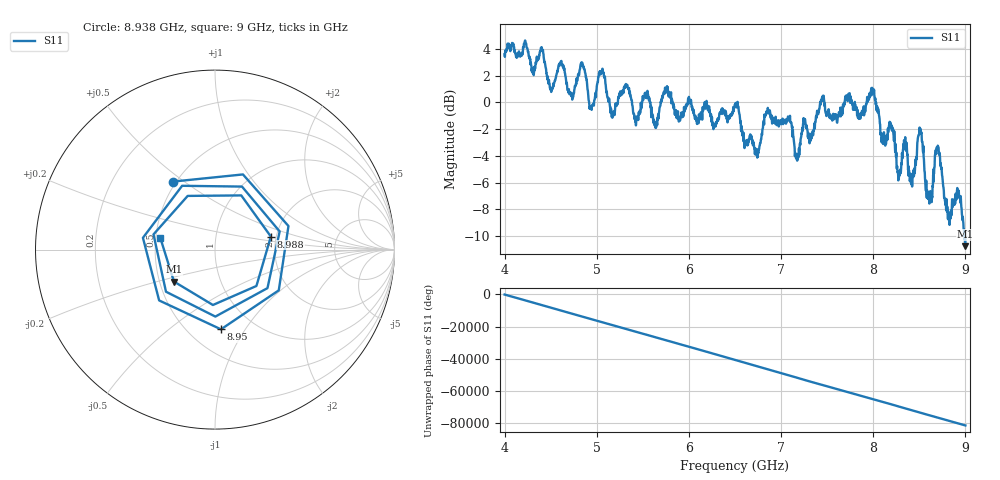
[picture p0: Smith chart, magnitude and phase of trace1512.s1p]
! Created with skrf 1.8.0 (http://scikit-rf.org).
# Hz S RI R 50.0
!freq ReS11 ImS11
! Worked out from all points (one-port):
!   1601 points, 4 GHz to 9 GHz, reference 50 ohm
!   lowest |S11| = -10.8 dB at 8.997 GHz (marker M1), VSWR 1.82, Z = 29.7 - j11.6 ohm
!   |S11| at or under -10 dB: 8.988791 GHz to end of sweep
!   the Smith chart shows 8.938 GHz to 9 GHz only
!   S11 on the Smith chart (normalised r, x): 8.938 GHz: 0.48, +0.46; 8.95 GHz: 0.71, -0.78; 8.988 GHz: 1.87, +0.30; 9 GHz: 0.53, +0.08
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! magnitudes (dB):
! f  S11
! 4 GHz  3.6
! 4.625 GHz  2.8
! 4.728 GHz  0.5
! 4.847 GHz  2.8
! 4.944 GHz  -0.6
! 5.05 GHz  2.4
! 5.169 GHz  -1.1
! 5.25 GHz  0.7
! 5.875 GHz  -1.1
! 6.5 GHz  -0.2
! 6.734 GHz  -3.8
! 6.856 GHz  -0.4
! 7.125 GHz  -2.6
! 7.175 GHz  -4.4
! 7.444 GHz  0.3
! 7.75 GHz  0.0
! 7.997 GHz  0.8
! 8.278 GHz  -5.7
! 8.375 GHz  -4.5
! 8.509 GHz  -1.9
! 8.603 GHz  -7.2
! 8.697 GHz  -3.5
! 8.816 GHz  -8.2
! 8.938 GHz  -7.0
! 8.95 GHz  -7.0
! 8.988 GHz  -9.9
! 8.997 GHz  -10.8
! 9 GHz  -10.1
